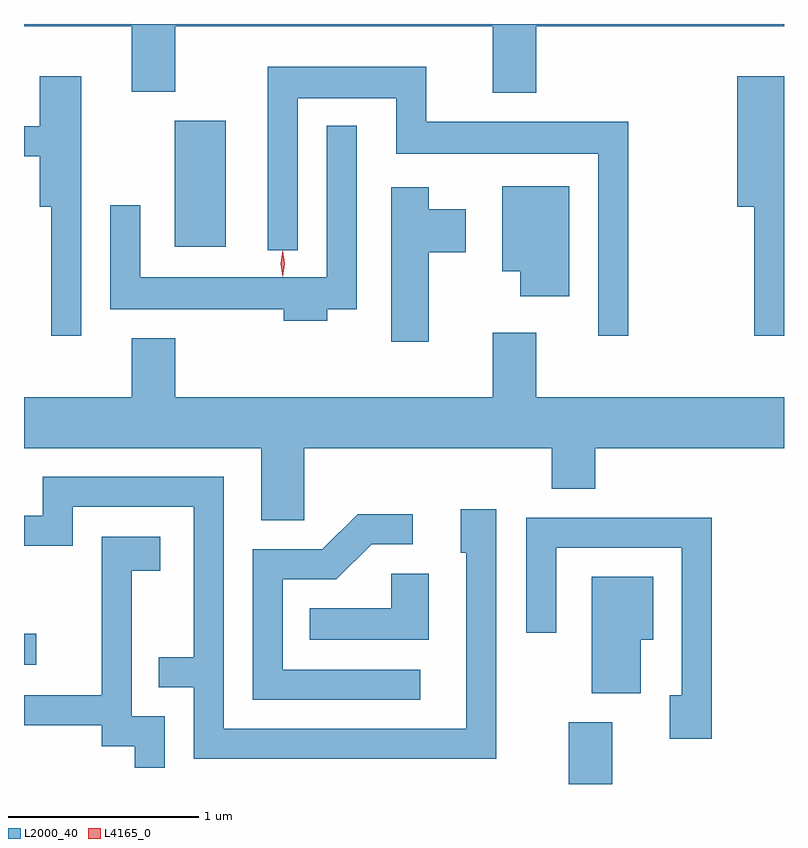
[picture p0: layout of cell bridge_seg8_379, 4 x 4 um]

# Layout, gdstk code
import gdstk
lib = gdstk.Library(unit=1e-6, precision=1e-09)
def R(c, l, rs):  # rectangles x0, y0, x1, y1
    for r in rs: c.add(gdstk.rectangle(r[:2], r[2:], *l))
def P(c, l, *ps):  # polygons
    for p in ps: c.add(gdstk.Polygon(p, *l))
L2000_40 = (2000, 40)
L4165_0 = (4165, 0)

bridge_seg8_379 = lib.new_cell('bridge_seg8_379')
R(bridge_seg8_379, L2000_40, [(684.651,1901.248,684.879,1901.574), (681.783,1901.876,681.848,1902.039), (682.576,1904.076,682.844,1904.739)])
P(bridge_seg8_379, L2000_40, [(684.479,1905.236),(685.783,1905.236),(685.783,1905.248),(681.783,1905.248),(681.783,1905.236),(682.351,1905.236),(682.351,1904.891),(682.579,1904.891),(682.579,1905.236),(684.251,1905.236),(684.251,1904.886),(684.479,1904.886)],
  [(684.964,1904.734),(683.899,1904.734),(683.899,1905.024),(683.066,1905.024),(683.066,1904.058),(683.224,1904.058),(683.224,1904.856),(683.741,1904.856),(683.741,1904.566),(684.806,1904.566),(684.806,1903.608),(684.964,1903.608)],
  [(685.783,1904.974),(685.536,1904.974),(685.536,1904.286),(685.626,1904.286),(685.626,1903.608),(685.783,1903.608)],
  [(682.084,1904.974),(681.866,1904.974),(681.866,1904.709),(681.783,1904.709),(681.783,1904.551),(681.866,1904.551),(681.866,1904.286),(681.926,1904.286),(681.926,1903.608),(682.084,1903.608)],
  [(683.379,1903.746),(683.534,1903.746),(683.534,1904.713),(683.376,1904.713),(683.376,1903.914),(682.394,1903.914),(682.394,1904.293),(682.236,1904.293),(682.236,1903.746),(683.151,1903.746),(683.151,1903.686),(683.379,1903.686)],
  [(684.654,1904.394),(684.301,1904.394),(684.301,1903.946),(684.396,1903.946),(684.396,1903.816),(684.654,1903.816)],
  [(683.914,1904.046),(684.109,1904.046),(684.109,1904.274),(683.914,1904.274),(683.914,1904.389),(683.716,1904.389),(683.716,1903.576),(683.914,1903.576)],
  [(683.259,1903.016),(684.561,1903.016),(684.561,1902.801),(684.789,1902.801),(684.789,1903.016),(685.783,1903.016),(685.783,1903.284),(684.479,1903.284),(684.479,1903.624),(684.251,1903.624),(684.251,1903.284),(682.579,1903.284),(682.579,1903.594),(682.351,1903.594),(682.351,1903.284),(681.783,1903.284),(681.783,1903.016),(683.031,1903.016),(683.031,1902.636),(683.259,1902.636)],
  [(684.269,1902.694),(684.081,1902.694),(684.081,1902.466),(684.111,1902.466),(684.111,1901.539),(682.834,1901.539),(682.834,1902.864),(681.881,1902.864),(681.881,1902.659),(681.783,1902.659),(681.783,1902.501),(682.039,1902.501),(682.039,1902.706),(682.676,1902.706),(682.676,1901.914),(682.493,1901.914),(682.493,1901.756),(682.676,1901.756),(682.676,1901.381),(684.269,1901.381)],
  [(683.868,1901.849),(683.144,1901.849),(683.144,1902.326),(683.427,1902.326),(683.612,1902.511),(683.828,1902.511),(683.828,1902.669),(683.539,1902.669),(683.354,1902.484),(682.986,1902.484),(682.986,1901.691),(683.868,1901.691)],
  [(685.404,1902.649),(684.426,1902.649),(684.426,1902.043),(684.584,1902.043),(684.584,1902.491),(685.246,1902.491),(685.246,1901.714),(685.181,1901.714),(685.181,1901.486),(685.404,1901.486)],
  [(682.524,1901.604),(682.349,1901.604),(682.349,1902.371),(682.499,1902.371),(682.499,1902.549),(682.191,1902.549),(682.191,1901.714),(681.783,1901.714),(681.783,1901.556),(682.191,1901.556),(682.191,1901.446),(682.366,1901.446),(682.366,1901.333),(682.524,1901.333)],
  [(683.914,1902.354),(683.716,1902.354),(683.716,1902.174),(683.288,1902.174),(683.288,1902.006),(683.914,1902.006)],
  [(685.029,1902.006),(685.094,1902.006),(685.094,1902.339),(684.771,1902.339),(684.771,1901.726),(685.029,1901.726)])
P(bridge_seg8_379, L4165_0, [(683.144,1903.917),(683.135,1903.986),(683.144,1904.056),(683.145,1904.056),(683.145,1904.056),(683.155,1903.986),(683.145,1903.917),(683.145,1903.917)],
  [(683.145,1903.919),(683.144,1903.92),(683.135,1903.986),(683.144,1904.052),(683.145,1904.053),(683.145,1904.052),(683.155,1903.986),(683.145,1903.92)])

lib.write_gds('bridge_seg8_379.gds')
